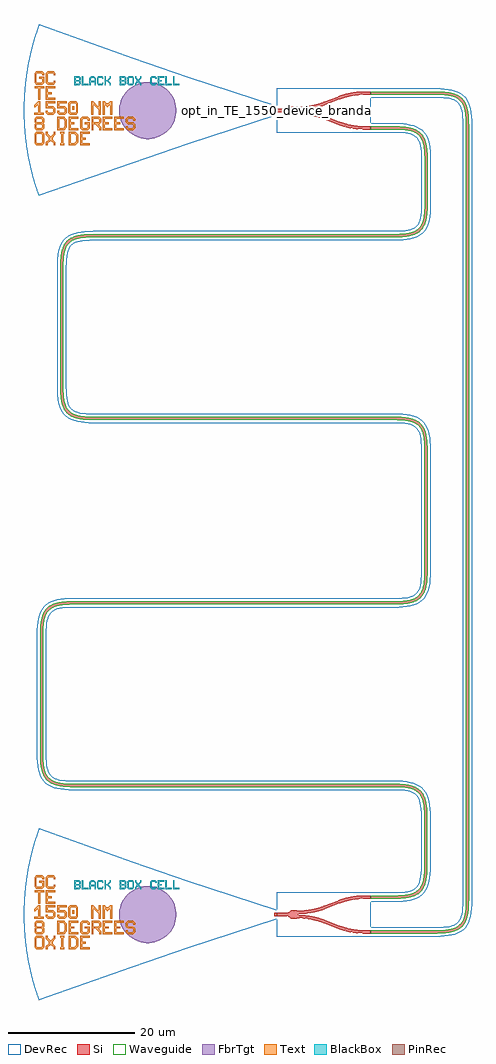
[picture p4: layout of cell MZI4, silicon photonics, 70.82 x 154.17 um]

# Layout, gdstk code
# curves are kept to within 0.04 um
import gdstk
lib = gdstk.Library(unit=1e-6, precision=1e-09)
def R(c, l, rs):  # rectangles x0, y0, x1, y1
    for r in rs: c.add(gdstk.rectangle(r[:2], r[2:], *l))
def P(c, l, *ps):  # polygons
    for p in ps: c.add(gdstk.Polygon(p, *l))
Si = (1, 0)
PinRec = (1, 10)
Waveguide = (1, 99)
Text = (10, 0)
DevRec = (68, 0)
FbrTgt = (81, 0)
BlackBox = (998, 0)

waveguide_20 = lib.new_cell('Waveguide$20')
P(waveguide_20, Si, [(-167.6,-187.91),(-167.6,-187.41),(-163.238,-187.4),(-162.141,-187.319),(-161.39,-187.181),(-160.776,-186.973),(-160.202,-186.625),(-159.839,-186.242),(-159.556,-185.753),(-159.257,-184.704),(-159.129,-183.291),(-159.138,-174.19),(-159.233,-173.13),(-159.465,-172.155),(-159.777,-171.526),(-160.203,-171.054),(-160.777,-170.706),(-161.391,-170.498),(-162.311,-170.341),(-163.443,-170.274),(-214.56,-170.27),(-216.524,-170.151),(-217.164,-170.025),(-217.858,-169.789),(-218.643,-169.286),(-219.208,-168.563),(-219.566,-167.623),(-219.755,-166.451),(-219.81,-165.02),(-219.8,-145.532),(-219.715,-144.389),(-219.565,-143.576),(-219.27,-142.757),(-218.911,-142.196),(-218.44,-141.747),(-217.727,-141.355),(-217.009,-141.137),(-215.991,-140.985),(-214.56,-140.93),(-163.412,-140.925),(-162.111,-140.839),(-161.098,-140.626),(-160.346,-140.273),(-159.809,-139.762),(-159.526,-139.273),(-159.318,-138.659),(-159.18,-137.908),(-159.099,-136.811),(-159.1,-116.408),(-159.228,-114.995),(-159.48,-114.058),(-159.875,-113.372),(-160.173,-113.074),(-160.537,-112.83),(-161.099,-112.593),(-161.796,-112.427),(-163.623,-112.291),(-211.379,-112.29),(-212.811,-112.234),(-213.829,-112.082),(-214.547,-111.864),(-215.151,-111.549),(-215.646,-111.122),(-216.027,-110.583),(-216.345,-109.79),(-216.511,-109.003),(-216.612,-107.891),(-216.601,-87.13),(-216.453,-85.887),(-216.203,-85.012),(-215.811,-84.299),(-215.259,-83.747),(-214.676,-83.41),(-213.828,-83.137),(-212.992,-83.003),(-211.816,-82.934),(-163.82,-82.93),(-162.091,-82.839),(-160.955,-82.585),(-160.237,-82.21),(-159.726,-81.673),(-159.373,-80.921),(-159.141,-79.739),(-159.071,-78.397),(-159.08,-70.528),(-159.208,-69.115),(-159.46,-68.178),(-159.727,-67.666),(-160.153,-67.194),(-160.727,-66.846),(-161.479,-66.605),(-163.189,-66.419),(-167.6,-66.41),(-167.6,-65.91),(-163.173,-65.919),(-162.03,-66.004),(-161.217,-66.154),(-160.523,-66.39),(-159.94,-66.727),(-159.469,-67.176),(-159.11,-67.737),(-158.855,-68.409),(-158.689,-69.196),(-158.57,-71.16),(-158.571,-78.401),(-158.688,-80.143),(-158.944,-81.212),(-159.387,-82.06),(-159.939,-82.612),(-160.787,-83.055),(-162.029,-83.335),(-163.82,-83.43),(-211.806,-83.434),(-212.938,-83.501),(-213.858,-83.658),(-214.472,-83.866),(-215.046,-84.214),(-215.472,-84.686),(-215.784,-85.315),(-216.016,-86.29),(-216.111,-87.35),(-216.112,-107.869),(-216.017,-108.929),(-215.865,-109.652),(-215.589,-110.343),(-215.276,-110.786),(-214.873,-111.133),(-214.244,-111.445),(-213.576,-111.624),(-212.586,-111.751),(-163.619,-111.791),(-161.71,-111.935),(-160.947,-112.117),(-160.297,-112.392),(-159.574,-112.957),(-159.071,-113.742),(-158.736,-114.909),(-158.6,-116.392),(-158.599,-136.827),(-158.663,-137.793),(-158.797,-138.629),(-159.015,-139.347),(-159.33,-139.951),(-159.959,-140.612),(-160.672,-141.004),(-161.709,-141.284),(-163.192,-141.42),(-214.56,-141.43),(-215.945,-141.483),(-216.901,-141.625),(-217.541,-141.819),(-218.053,-142.086),(-218.525,-142.512),(-218.873,-143.086),(-219.081,-143.7),(-219.219,-144.451),(-219.3,-145.548),(-219.272,-166.226),(-219.082,-167.499),(-218.77,-168.323),(-218.307,-168.916),(-217.654,-169.333),(-217.04,-169.541),(-216.45,-169.657),(-214.56,-169.77),(-163.433,-169.774),(-162.257,-169.843),(-161.267,-170.014),(-160.448,-170.309),(-159.887,-170.668),(-159.361,-171.248),(-158.995,-171.987),(-158.766,-172.889),(-158.648,-173.97),(-158.629,-183.307),(-158.765,-184.79),(-159.1,-185.957),(-159.437,-186.54),(-159.989,-187.092),(-160.572,-187.429),(-161.42,-187.702),(-162.256,-187.836),(-163.222,-187.9)])
P(waveguide_20, Waveguide, [(-167.6,-187.91),(-167.6,-187.41),(-163.238,-187.4),(-162.141,-187.319),(-161.39,-187.181),(-160.776,-186.973),(-160.202,-186.625),(-159.839,-186.242),(-159.556,-185.753),(-159.257,-184.704),(-159.129,-183.291),(-159.138,-174.19),(-159.233,-173.13),(-159.465,-172.155),(-159.777,-171.526),(-160.203,-171.054),(-160.777,-170.706),(-161.391,-170.498),(-162.311,-170.341),(-163.443,-170.274),(-214.56,-170.27),(-216.524,-170.151),(-217.164,-170.025),(-217.858,-169.789),(-218.643,-169.286),(-219.208,-168.563),(-219.566,-167.623),(-219.755,-166.451),(-219.81,-165.02),(-219.8,-145.532),(-219.715,-144.389),(-219.565,-143.576),(-219.27,-142.757),(-218.911,-142.196),(-218.44,-141.747),(-217.727,-141.355),(-217.009,-141.137),(-215.991,-140.985),(-214.56,-140.93),(-163.412,-140.925),(-162.111,-140.839),(-161.098,-140.626),(-160.346,-140.273),(-159.809,-139.762),(-159.526,-139.273),(-159.318,-138.659),(-159.18,-137.908),(-159.099,-136.811),(-159.1,-116.408),(-159.228,-114.995),(-159.48,-114.058),(-159.875,-113.372),(-160.173,-113.074),(-160.537,-112.83),(-161.099,-112.593),(-161.796,-112.427),(-163.623,-112.291),(-211.379,-112.29),(-212.811,-112.234),(-213.829,-112.082),(-214.547,-111.864),(-215.151,-111.549),(-215.646,-111.122),(-216.027,-110.583),(-216.345,-109.79),(-216.511,-109.003),(-216.612,-107.891),(-216.601,-87.13),(-216.453,-85.887),(-216.203,-85.012),(-215.811,-84.299),(-215.259,-83.747),(-214.676,-83.41),(-213.828,-83.137),(-212.992,-83.003),(-211.816,-82.934),(-163.82,-82.93),(-162.091,-82.839),(-160.955,-82.585),(-160.237,-82.21),(-159.726,-81.673),(-159.373,-80.921),(-159.141,-79.739),(-159.071,-78.397),(-159.08,-70.528),(-159.208,-69.115),(-159.46,-68.178),(-159.727,-67.666),(-160.153,-67.194),(-160.727,-66.846),(-161.479,-66.605),(-163.189,-66.419),(-167.6,-66.41),(-167.6,-65.91),(-163.173,-65.919),(-162.03,-66.004),(-161.217,-66.154),(-160.523,-66.39),(-159.94,-66.727),(-159.469,-67.176),(-159.11,-67.737),(-158.855,-68.409),(-158.689,-69.196),(-158.57,-71.16),(-158.571,-78.401),(-158.688,-80.143),(-158.944,-81.212),(-159.387,-82.06),(-159.939,-82.612),(-160.787,-83.055),(-162.029,-83.335),(-163.82,-83.43),(-211.806,-83.434),(-212.938,-83.501),(-213.858,-83.658),(-214.472,-83.866),(-215.046,-84.214),(-215.472,-84.686),(-215.784,-85.315),(-216.016,-86.29),(-216.111,-87.35),(-216.112,-107.869),(-216.017,-108.929),(-215.865,-109.652),(-215.589,-110.343),(-215.276,-110.786),(-214.873,-111.133),(-214.244,-111.445),(-213.576,-111.624),(-212.586,-111.751),(-163.619,-111.791),(-161.71,-111.935),(-160.947,-112.117),(-160.297,-112.392),(-159.574,-112.957),(-159.071,-113.742),(-158.736,-114.909),(-158.6,-116.392),(-158.599,-136.827),(-158.663,-137.793),(-158.797,-138.629),(-159.015,-139.347),(-159.33,-139.951),(-159.959,-140.612),(-160.672,-141.004),(-161.709,-141.284),(-163.192,-141.42),(-214.56,-141.43),(-215.945,-141.483),(-216.901,-141.625),(-217.541,-141.819),(-218.053,-142.086),(-218.525,-142.512),(-218.873,-143.086),(-219.081,-143.7),(-219.219,-144.451),(-219.3,-145.548),(-219.272,-166.226),(-219.082,-167.499),(-218.77,-168.323),(-218.307,-168.916),(-217.654,-169.333),(-217.04,-169.541),(-216.45,-169.657),(-214.56,-169.77),(-163.433,-169.774),(-162.257,-169.843),(-161.267,-170.014),(-160.448,-170.309),(-159.887,-170.668),(-159.361,-171.248),(-158.995,-171.987),(-158.766,-172.889),(-158.648,-173.97),(-158.629,-183.307),(-158.765,-184.79),(-159.1,-185.957),(-159.437,-186.54),(-159.989,-187.092),(-160.572,-187.429),(-161.42,-187.702),(-162.256,-187.836),(-163.222,-187.9)])
P(waveguide_20, DevRec, [(-167.6,-188.41),(-167.6,-186.91),(-163.22,-186.899),(-161.676,-186.734),(-160.974,-186.514),(-160.494,-186.217),(-160.155,-185.818),(-159.895,-185.235),(-159.717,-184.404),(-159.63,-183.309),(-159.663,-173.789),(-159.796,-172.826),(-160.156,-171.861),(-160.313,-171.644),(-160.712,-171.305),(-161.295,-171.045),(-162.64,-170.812),(-163.87,-170.77),(-215.262,-170.759),(-216.513,-170.658),(-217.588,-170.424),(-218.511,-170.008),(-218.91,-169.717),(-219.258,-169.369),(-219.783,-168.529),(-220.101,-167.529),(-220.264,-166.37),(-220.31,-165.02),(-220.299,-145.478),(-220.198,-144.227),(-219.964,-143.152),(-219.548,-142.229),(-219.257,-141.83),(-218.909,-141.482),(-218.069,-140.957),(-217.069,-140.639),(-215.91,-140.476),(-214.56,-140.43),(-163.19,-140.419),(-162.095,-140.332),(-161.264,-140.154),(-160.681,-139.894),(-160.464,-139.737),(-160.125,-139.338),(-159.765,-138.373),(-159.6,-136.829),(-159.601,-116.39),(-159.688,-115.295),(-159.866,-114.464),(-160.126,-113.881),(-160.283,-113.664),(-160.682,-113.325),(-161.265,-113.065),(-162.096,-112.887),(-163.84,-112.79),(-211.379,-112.79),(-212.73,-112.743),(-213.889,-112.58),(-214.889,-112.262),(-215.729,-111.737),(-216.077,-111.389),(-216.368,-110.99),(-216.784,-110.067),(-217.018,-108.992),(-217.119,-107.741),(-217.129,-88.18),(-217.082,-86.829),(-216.919,-85.67),(-216.601,-84.67),(-216.076,-83.83),(-215.728,-83.482),(-215.329,-83.191),(-214.406,-82.775),(-213.331,-82.541),(-212.08,-82.44),(-163.82,-82.43),(-162.075,-82.332),(-161.244,-82.154),(-160.661,-81.894),(-160.444,-81.737),(-160.105,-81.338),(-159.745,-80.373),(-159.612,-79.41),(-159.581,-70.51),(-159.668,-69.415),(-159.966,-68.264),(-160.263,-67.784),(-160.662,-67.445),(-161.627,-67.085),(-163.171,-66.92),(-167.6,-66.91),(-167.6,-65.41),(-163.119,-65.42),(-161.868,-65.521),(-160.793,-65.755),(-159.87,-66.171),(-159.471,-66.462),(-159.123,-66.81),(-158.598,-67.65),(-158.416,-68.132),(-158.182,-69.207),(-158.07,-71.159),(-158.07,-78.181),(-158.116,-79.53),(-158.279,-80.689),(-158.597,-81.689),(-159.122,-82.529),(-159.869,-83.168),(-160.792,-83.584),(-161.867,-83.818),(-163.82,-83.93),(-212.028,-83.94),(-213.572,-84.105),(-214.274,-84.325),(-214.754,-84.622),(-215.093,-85.021),(-215.353,-85.604),(-215.531,-86.435),(-215.618,-87.53),(-215.629,-107.04),(-215.587,-108.27),(-215.354,-109.615),(-215.234,-109.935),(-214.937,-110.415),(-214.538,-110.754),(-213.955,-111.014),(-212.61,-111.247),(-211.379,-111.29),(-163.139,-111.3),(-161.331,-111.499),(-160.331,-111.817),(-159.89,-112.051),(-159.143,-112.69),(-158.618,-113.53),(-158.3,-114.53),(-158.101,-116.338),(-158.1,-136.881),(-158.299,-138.689),(-158.617,-139.689),(-158.851,-140.13),(-159.49,-140.877),(-160.33,-141.402),(-161.33,-141.72),(-163.138,-141.919),(-214.56,-141.93),(-215.79,-141.972),(-217.135,-142.205),(-217.718,-142.465),(-218.117,-142.804),(-218.414,-143.284),(-218.634,-143.986),(-218.799,-145.53),(-218.81,-165.02),(-218.768,-166.25),(-218.635,-167.213),(-218.415,-167.915),(-218.118,-168.395),(-217.936,-168.577),(-217.456,-168.874),(-216.305,-169.172),(-214.56,-169.27),(-163.169,-169.28),(-161.918,-169.381),(-160.843,-169.615),(-159.92,-170.031),(-159.521,-170.322),(-158.882,-171.069),(-158.466,-171.992),(-158.232,-173.067),(-158.131,-174.318),(-158.13,-183.361),(-158.329,-185.169),(-158.647,-186.169),(-159.172,-187.009),(-159.52,-187.357),(-160.36,-187.882),(-161.36,-188.2),(-163.168,-188.399)])
waveguide_20.add(gdstk.FlexPath([(-167.59,-66.16),(-167.61,-66.16)], 0.5, ends="flush", simple_path=True, layer=1, datatype=10))  # PinRec
waveguide_20.add(gdstk.FlexPath([(-167.59,-187.66),(-167.61,-187.66)], 0.5, ends="flush", simple_path=True, layer=1, datatype=10))  # PinRec
waveguide_20.add(gdstk.Label('opt1', (-167.6,-66.16), layer=1, texttype=10))
waveguide_20.add(gdstk.Label('opt2', (-167.6,-187.66), layer=1, texttype=10))
waveguide_20.add(gdstk.Label('Lumerical_INTERCONNECT_library=Design kits/EBeam', (-167.6,-66.26), layer=68, texttype=0))
waveguide_20.add(gdstk.Label('Component=ebeam_wg_integral_1550', (-167.6,-66.06), layer=68, texttype=0))
waveguide_20.add(gdstk.Label('cellName=Waveguide', (-167.6,-65.96), layer=68, texttype=0))
waveguide_20.add(gdstk.Label('Length=360.001 (microns)', (-167.6,-66.76), layer=68, texttype=0))
waveguide_20.add(gdstk.Label('waveguide_type=Strip TE 1550 nm, w=500 nm', (-167.6,-66.36), layer=68, texttype=0))

waveguide_7 = lib.new_cell('Waveguide$7')
P(waveguide_7, Si, [(-167.6,60.59),(-167.6,61.09),(-156.871,61.095),(-155.739,61.162),(-154.819,61.319),(-154.205,61.527),(-153.805,61.747),(-153.476,62.017),(-153.205,62.347),(-152.813,63.228),(-152.602,64.455),(-152.549,65.84),(-152.549,188.34),(-152.64,190.069),(-152.894,191.205),(-153.334,192.008),(-153.632,192.306),(-153.996,192.55),(-154.435,192.746),(-155.103,192.925),(-156.093,193.052),(-157.082,193.089),(-167.6,193.09),(-167.6,193.59),(-157.078,193.589),(-155.868,193.535),(-154.85,193.383),(-154.132,193.165),(-153.419,192.773),(-152.948,192.324),(-152.589,191.763),(-152.294,190.944),(-152.144,190.131),(-152.059,188.988),(-152.049,65.84),(-152.104,64.409),(-152.376,62.947),(-152.588,62.418),(-152.866,61.96),(-153.216,61.574),(-153.638,61.26),(-154.131,61.016),(-154.695,60.835),(-155.685,60.664),(-156.861,60.595)])
P(waveguide_7, Waveguide, [(-167.6,60.59),(-167.6,61.09),(-156.871,61.095),(-155.739,61.162),(-154.819,61.319),(-154.205,61.527),(-153.805,61.747),(-153.476,62.017),(-153.205,62.347),(-152.813,63.228),(-152.602,64.455),(-152.549,65.84),(-152.549,188.34),(-152.64,190.069),(-152.894,191.205),(-153.334,192.008),(-153.632,192.306),(-153.996,192.55),(-154.435,192.746),(-155.103,192.925),(-156.093,193.052),(-157.082,193.089),(-167.6,193.09),(-167.6,193.59),(-157.078,193.589),(-155.868,193.535),(-154.85,193.383),(-154.132,193.165),(-153.419,192.773),(-152.948,192.324),(-152.589,191.763),(-152.294,190.944),(-152.144,190.131),(-152.059,188.988),(-152.049,65.84),(-152.104,64.409),(-152.376,62.947),(-152.588,62.418),(-152.866,61.96),(-153.216,61.574),(-153.638,61.26),(-154.131,61.016),(-154.695,60.835),(-155.685,60.664),(-156.861,60.595)])
P(waveguide_7, DevRec, [(-167.6,60.09),(-167.6,61.59),(-156.649,61.601),(-155.554,61.688),(-154.723,61.866),(-154.14,62.126),(-153.923,62.283),(-153.584,62.682),(-153.224,63.647),(-153.091,64.61),(-153.049,65.84),(-153.049,188.34),(-153.147,190.085),(-153.325,190.916),(-153.445,191.236),(-153.742,191.716),(-153.924,191.898),(-154.404,192.195),(-155.555,192.493),(-157.3,192.59),(-167.6,192.59),(-167.6,194.09),(-157.298,194.09),(-155.949,194.044),(-154.79,193.881),(-153.79,193.563),(-152.95,193.038),(-152.602,192.69),(-152.311,192.291),(-151.895,191.368),(-151.661,190.293),(-151.56,189.042),(-151.549,65.84),(-151.595,64.49),(-151.758,63.331),(-151.894,62.813),(-152.31,61.89),(-152.949,61.143),(-153.348,60.852),(-154.271,60.436),(-155.346,60.202),(-156.597,60.101)])
waveguide_7.add(gdstk.FlexPath([(-167.59,193.34),(-167.61,193.34)], 0.5, ends="flush", simple_path=True, layer=1, datatype=10))  # PinRec
waveguide_7.add(gdstk.FlexPath([(-167.59,60.84),(-167.61,60.84)], 0.5, ends="flush", simple_path=True, layer=1, datatype=10))  # PinRec
waveguide_7.add(gdstk.Label('opt1', (-167.6,193.34), layer=1, texttype=10))
waveguide_7.add(gdstk.Label('opt2', (-167.6,60.84), layer=1, texttype=10))
waveguide_7.add(gdstk.Label('Lumerical_INTERCONNECT_library=Design kits/EBeam', (-167.6,193.24), layer=68, texttype=0))
waveguide_7.add(gdstk.Label('Component=ebeam_wg_integral_1550', (-167.6,193.44), layer=68, texttype=0))
waveguide_7.add(gdstk.Label('cellName=Waveguide', (-167.6,193.54), layer=68, texttype=0))
waveguide_7.add(gdstk.Label('Spice_param:wg_length=0.000159999 wg_width=5e-07 points="[[-167.6,193.34],[-152.299,193.34],[-152.299,60.84],[-167.6,60.84]]" radius=5e-06', (-167.6,193.34), layer=68, texttype=0))
waveguide_7.add(gdstk.Label('Length=159.999 (microns)', (-167.6,192.74), layer=68, texttype=0))
waveguide_7.add(gdstk.Label('waveguide_type=Strip TE 1550 nm, w=500 nm', (-167.6,193.14), layer=68, texttype=0))

ebeam_y_1550 = lib.new_cell('ebeam_y_1550')
R(ebeam_y_1550, Si, [(6.5,-3,7.4,-2.5), (-7.4,-0.25,-6,0.25), (6.5,2.5,7.4,3)])
P(ebeam_y_1550, Si, [(6.458,-3),(6.237,-2.997),(6.237,-2.497),(6.5,-2.5),(6.5,-3)],
  [(5.033,-2.908),(3.59,-2.634),(2.265,-2.21),(2.445,-1.744),(3.731,-2.154),(5.033,-2.404)],
  [(6.233,-2.997),(5.033,-2.908),(5.033,-2.404),(6.237,-2.497)],
  [(2.265,-2.21),(0.055,-1.356),(0.235,-0.89),(2.445,-1.744)],
  [(-0.762,-1.076),(-2.334,-0.724),(-4,-0.6),(-4,-0.1),(-2.381,-0.212),(-0.762,-0.555)],
  [(0.055,-1.356),(-0.762,-1.076),(-0.762,-0.555),(0.235,-0.89)],
  [(6.237,2.497),(6.237,2.997),(6.5,3),(6.5,2.5)],
  [(2.445,1.744),(2.267,2.211),(3.59,2.634),(5.033,2.908),(5.033,2.404),(3.731,2.154)],
  [(5.033,2.404),(5.033,2.908),(6.237,2.997),(6.237,2.497)],
  [(0.235,0.89),(0.055,1.356),(2.265,2.21),(2.445,1.744)],
  [(-4,0.1),(-4,0.6),(-2.334,0.724),(-0.762,1.076),(-0.762,0.555),(-2.381,0.212)],
  [(-0.762,0.555),(-0.762,1.076),(0.055,1.356),(0.235,0.89)],
  [(-5.122,-0.662),(-5.442,-0.374),(-5.808,-0.255),(-6,-0.25),(-6,0.25),(-5.817,0.253),(-5.442,0.374),(-5.122,0.662)],
  [(-4.957,-0.703),(-5.122,-0.662),(-5.122,0.662),(-4.538,0.703),(-4,0.6),(-4,-0.6),(-4.509,-0.701)])
R(ebeam_y_1550, DevRec, [(-7.4,-3.5,7.4,3.5)])
ebeam_y_1550.add(gdstk.FlexPath([(-7.35,0),(-7.45,0)], 0.5, ends="flush", simple_path=True, layer=1, datatype=10))  # PinRec
ebeam_y_1550.add(gdstk.FlexPath([(7.35,2.75),(7.45,2.75)], 0.5, ends="flush", simple_path=True, layer=1, datatype=10))  # PinRec
ebeam_y_1550.add(gdstk.FlexPath([(7.35,-2.75),(7.45,-2.75)], 0.5, ends="flush", simple_path=True, layer=1, datatype=10))  # PinRec
ebeam_y_1550.add(gdstk.Label('opt2', (7.4,2.75), layer=1, texttype=10))
ebeam_y_1550.add(gdstk.Label('opt3', (7.4,-2.75), layer=1, texttype=10))
ebeam_y_1550.add(gdstk.Label('opt1', (-7.4,0), layer=1, texttype=10))
ebeam_y_1550.add(gdstk.Label('Component=ebeam_y_1550', (-6,1.5), layer=68, texttype=0))
ebeam_y_1550.add(gdstk.Label('Lumerical_INTERCONNECT_library=Design kits/ebeam', (-6.86,-2.19), layer=68, texttype=0))
ebeam_y_1550.add(gdstk.Label('Ref: Y Zhang, Opt. Express, 21/1, 2013', (-7.5,-1), layer=10, texttype=0))

text = lib.new_cell('TEXT')
P(text, BlackBox, [(0,0),(0,1.4),(0.8,1.4),(1,1.2),(0.2,1.2),(0.2,0.8),(0.7,0.8),(0.8,0.9),(0.8,1.1),(0.7,1.2),(1,1.2),(1,0.8),(0.9,0.7),(1,0.6),(0.2,0.6),(0.2,0.2),(0.7,0.2),(0.8,0.3),(0.8,0.5),(0.7,0.6),(1,0.6),(1,0.2),(0.8,0)],
  [(1.2,0),(1.2,1.4),(1.4,1.4),(1.4,0.2),(2.2,0.2),(2.2,0)],
  [(2.4,0),(2.4,1.1),(2.7,1.4),(3.1,1.4),(3.3,1.2),(2.8,1.2),(2.6,1),(2.6,0.7),(3.2,0.7),(3.2,1),(3,1.2),(3.3,1.2),(3.4,1.1),(3.4,0),(3.2,0),(3.2,0.5),(2.6,0.5),(2.6,0)],
  [(3.8,0),(3.6,0.2),(3.6,1.2),(3.8,1.4),(4.4,1.4),(4.6,1.2),(4.6,1),(4.4,1),(4.4,1.1),(4.3,1.2),(3.9,1.2),(3.8,1.1),(3.8,0.3),(3.9,0.2),(4.3,0.2),(4.4,0.3),(4.4,0.4),(4.6,0.4),(4.6,0.2),(4.4,0)],
  [(4.8,0),(4.8,1.4),(5,1.4),(5,0.8),(5.2,0.8),(5.6,1.2),(5.6,1.4),(5.8,1.4),(5.8,1.1),(5.4,0.7),(5.8,0.3),(5.8,0),(5.6,0),(5.6,0.2),(5.2,0.6),(5,0.6),(5,0)],
  [(7.2,0),(7.2,1.4),(8,1.4),(8.2,1.2),(7.4,1.2),(7.4,0.8),(7.9,0.8),(8,0.9),(8,1.1),(7.9,1.2),(8.2,1.2),(8.2,0.8),(8.1,0.7),(8.2,0.6),(7.4,0.6),(7.4,0.2),(7.9,0.2),(8,0.3),(8,0.5),(7.9,0.6),(8.2,0.6),(8.2,0.2),(8,0)],
  [(8.6,0),(8.4,0.2),(8.4,1.2),(8.6,1.4),(9.2,1.4),(9.4,1.2),(9.4,0.7),(9.2,0.7),(9.2,1.1),(9.1,1.2),(8.7,1.2),(8.6,1.1),(8.6,0.3),(8.7,0.2),(9.1,0.2),(9.2,0.3),(9.2,0.7),(9.4,0.7),(9.4,0.2),(9.2,0)],
  [(9.6,0),(9.6,0.3),(9.9,0.6),(9.9,0.8),(9.6,1.1),(9.6,1.4),(9.8,1.4),(9.8,1.2),(10.1,0.9),(10.4,1.2),(10.4,1.4),(10.6,1.4),(10.6,1.1),(10.3,0.8),(10.3,0.6),(10.6,0.3),(10.6,0),(10.4,0),(10.4,0.2),(10.1,0.5),(9.8,0.2),(9.8,0)],
  [(12.2,0),(12,0.2),(12,1.2),(12.2,1.4),(12.8,1.4),(13,1.2),(13,1),(12.8,1),(12.8,1.1),(12.7,1.2),(12.3,1.2),(12.2,1.1),(12.2,0.3),(12.3,0.2),(12.7,0.2),(12.8,0.3),(12.8,0.4),(13,0.4),(13,0.2),(12.8,0)],
  [(13.2,0),(13.2,1.4),(14.2,1.4),(14.2,1.2),(13.4,1.2),(13.4,0.8),(13.8,0.8),(13.8,0.6),(13.4,0.6),(13.4,0.2),(14.2,0.2),(14.2,0)],
  [(14.4,0),(14.4,1.4),(14.6,1.4),(14.6,0.2),(15.4,0.2),(15.4,0)],
  [(15.6,0),(15.6,1.4),(15.8,1.4),(15.8,0.2),(16.6,0.2),(16.6,0)])

gc_te_1550_8degoxide_bb = lib.new_cell('GC_TE_1550_8degOxide_BB')
R(gc_te_1550_8degoxide_bb, Si, [(-0.4,-0.25,0,0.25)])
R(gc_te_1550_8degoxide_bb, Text, [(-32.313,0.092,-32.013,0.692)])
P(gc_te_1550_8degoxide_bb, Text, [(-37.67,1.71),(-37.67,3.51),(-38.27,3.51),(-38.27,3.81),(-36.77,3.81),(-36.77,3.51),(-37.37,3.51),(-37.37,1.71)],
  [(-37.97,-5.49),(-38.27,-5.19),(-38.27,-3.69),(-37.97,-3.39),(-37.07,-3.39),(-36.77,-3.69),(-36.77,-4.44),(-37.07,-4.44),(-37.07,-3.84),(-37.22,-3.69),(-37.82,-3.69),(-37.97,-3.84),(-37.97,-5.04),(-37.82,-5.19),(-37.22,-5.19),(-37.07,-5.04),(-37.07,-4.44),(-36.77,-4.44),(-36.77,-5.19),(-37.07,-5.49)],
  [(-31.07,-5.49),(-31.07,-3.39),(-29.57,-3.39),(-29.57,-3.69),(-30.77,-3.69),(-30.77,-4.29),(-30.17,-4.29),(-30.17,-4.59),(-30.77,-4.59),(-30.77,-5.19),(-29.57,-5.19),(-29.57,-5.49)],
  [(-32.87,-3.09),(-32.87,-0.99),(-31.37,-0.99),(-31.37,-1.29),(-32.57,-1.29),(-32.57,-1.89),(-31.97,-1.89),(-31.97,-2.19),(-32.57,-2.19),(-32.57,-2.79),(-31.37,-2.79),(-31.37,-3.09)],
  [(-27.47,-3.09),(-27.47,-0.99),(-25.97,-0.99),(-25.97,-1.29),(-27.17,-1.29),(-27.17,-1.89),(-26.57,-1.89),(-26.57,-2.19),(-27.17,-2.19),(-27.17,-2.79),(-25.97,-2.79),(-25.97,-3.09)],
  [(-25.67,-3.09),(-25.67,-0.99),(-24.17,-0.99),(-24.17,-1.29),(-25.37,-1.29),(-25.37,-1.89),(-24.77,-1.89),(-24.77,-2.19),(-25.37,-2.19),(-25.37,-2.79),(-24.17,-2.79),(-24.17,-3.09)],
  [(-36.47,1.71),(-36.47,3.81),(-34.97,3.81),(-34.97,3.51),(-36.17,3.51),(-36.17,2.91),(-35.57,2.91),(-35.57,2.61),(-36.17,2.61),(-36.17,2.01),(-34.97,2.01),(-34.97,1.71)],
  [(-29.313,-0.658),(-29.313,1.442),(-29.013,1.442),(-28.263,0.692),(-28.113,0.692),(-28.113,1.442),(-27.813,1.442),(-27.813,-0.658),(-28.113,-0.658),(-28.113,0.092),(-28.863,0.842),(-29.013,0.842),(-29.013,-0.658)],
  [(-34.22,-5.49),(-34.22,-5.19),(-34.07,-5.19),(-34.07,-3.69),(-34.22,-3.69),(-34.22,-3.39),(-33.62,-3.39),(-33.62,-3.69),(-33.77,-3.69),(-33.77,-5.19),(-33.62,-5.19),(-33.62,-5.49)],
  [(-36.17,4.11),(-36.47,4.41),(-36.47,5.91),(-36.17,6.21),(-35.27,6.21),(-34.97,5.91),(-34.97,5.61),(-35.27,5.61),(-35.27,5.76),(-35.42,5.91),(-36.02,5.91),(-36.17,5.76),(-36.17,4.56),(-36.02,4.41),(-35.42,4.41),(-35.27,4.56),(-35.27,4.71),(-34.97,4.71),(-34.97,4.41),(-35.27,4.11)],
  [(-27.513,-0.658),(-27.513,1.442),(-27.213,1.442),(-26.913,1.142),(-26.613,1.142),(-26.313,1.442),(-26.013,1.442),(-26.013,-0.658),(-26.313,-0.658),(-26.313,0.842),(-26.463,0.842),(-26.763,0.542),(-27.063,0.842),(-27.213,0.842),(-27.213,-0.658)],
  [(-32.613,-0.658),(-32.913,-0.358),(-32.913,1.142),(-32.613,1.442),(-31.713,1.442),(-31.413,1.142),(-32.463,1.142),(-32.613,0.992),(-32.613,-0.208),(-32.463,-0.358),(-31.863,-0.358),(-31.713,-0.208),(-31.713,0.992),(-31.863,1.142),(-31.413,1.142),(-31.413,-0.358),(-31.713,-0.658)],
  [(-32.87,-5.49),(-32.87,-3.39),(-31.82,-3.39),(-31.52,-3.69),(-32.57,-3.69),(-32.57,-5.19),(-31.97,-5.19),(-31.67,-4.89),(-31.67,-3.99),(-31.97,-3.69),(-31.52,-3.69),(-31.37,-3.84),(-31.37,-5.04),(-31.82,-5.49)],
  [(-34.67,-3.09),(-34.67,-0.99),(-33.62,-0.99),(-33.32,-1.29),(-34.37,-1.29),(-34.37,-2.79),(-33.77,-2.79),(-33.47,-2.49),(-33.47,-1.59),(-33.77,-1.29),(-33.32,-1.29),(-33.17,-1.44),(-33.17,-2.64),(-33.62,-3.09)],
  [(-23.57,-3.09),(-23.87,-2.79),(-23.87,-2.49),(-23.57,-2.49),(-23.57,-2.64),(-23.42,-2.79),(-22.82,-2.79),(-22.67,-2.64),(-22.67,-2.34),(-22.82,-2.19),(-23.57,-2.19),(-23.87,-1.89),(-23.87,-1.29),(-23.57,-0.99),(-22.67,-0.99),(-22.37,-1.29),(-22.37,-1.59),(-22.67,-1.59),(-22.67,-1.44),(-22.82,-1.29),(-23.42,-1.29),(-23.57,-1.44),(-23.57,-1.74),(-23.42,-1.89),(-22.67,-1.89),(-22.37,-2.19),(-22.37,-2.79),(-22.67,-3.09)],
  [(-36.213,-0.658),(-36.513,-0.358),(-36.513,-0.058),(-36.213,-0.058),(-36.213,-0.208),(-36.063,-0.358),(-35.463,-0.358),(-35.313,-0.208),(-35.313,0.242),(-35.463,0.392),(-36.513,0.392),(-36.513,1.442),(-35.013,1.442),(-35.013,1.142),(-36.213,1.142),(-36.213,0.692),(-35.313,0.692),(-35.013,0.392),(-35.013,-0.358),(-35.313,-0.658)],
  [(-34.413,-0.658),(-34.713,-0.358),(-34.713,-0.058),(-34.413,-0.058),(-34.413,-0.208),(-34.263,-0.358),(-33.663,-0.358),(-33.513,-0.208),(-33.513,0.242),(-33.663,0.392),(-34.713,0.392),(-34.713,1.442),(-33.213,1.442),(-33.213,1.142),(-34.413,1.142),(-34.413,0.692),(-33.513,0.692),(-33.213,0.392),(-33.213,-0.358),(-33.513,-0.658)],
  [(-37.97,-3.09),(-38.27,-2.79),(-38.27,-2.19),(-38.12,-2.04),(-38.27,-1.89),(-38.27,-1.29),(-37.97,-0.99),(-37.07,-0.99),(-36.77,-1.29),(-37.82,-1.29),(-37.97,-1.44),(-37.97,-1.74),(-37.82,-1.89),(-37.22,-1.89),(-37.07,-1.74),(-37.07,-1.44),(-37.22,-1.29),(-36.77,-1.29),(-36.77,-1.89),(-36.92,-2.04),(-36.77,-2.19),(-37.82,-2.19),(-37.97,-2.34),(-37.97,-2.64),(-37.82,-2.79),(-37.22,-2.79),(-37.07,-2.64),(-37.07,-2.34),(-37.22,-2.19),(-36.77,-2.19),(-36.77,-2.79),(-37.07,-3.09)],
  [(-38.313,-0.658),(-38.313,-0.358),(-37.713,-0.358),(-37.713,0.842),(-37.863,0.842),(-38.163,0.542),(-38.313,0.542),(-38.313,0.842),(-37.713,1.442),(-37.413,1.442),(-37.413,-0.358),(-36.813,-0.358),(-36.813,-0.658)],
  [(-36.47,-5.49),(-36.47,-5.04),(-36.02,-4.59),(-36.02,-4.29),(-36.47,-3.84),(-36.47,-3.39),(-36.17,-3.39),(-36.17,-3.69),(-35.72,-4.14),(-35.27,-3.69),(-35.27,-3.39),(-34.97,-3.39),(-34.97,-3.84),(-35.42,-4.29),(-35.42,-4.59),(-34.97,-5.04),(-34.97,-5.49),(-35.27,-5.49),(-35.27,-5.19),(-35.72,-4.74),(-36.17,-5.19),(-36.17,-5.49)],
  [(-30.77,-3.09),(-31.07,-2.79),(-31.07,-1.29),(-30.77,-0.99),(-29.87,-0.99),(-29.57,-1.29),(-29.57,-1.59),(-29.87,-1.59),(-29.87,-1.44),(-30.02,-1.29),(-30.62,-1.29),(-30.77,-1.44),(-30.77,-2.64),(-30.62,-2.79),(-30.02,-2.79),(-29.87,-2.64),(-29.87,-2.19),(-30.32,-2.19),(-30.32,-1.89),(-29.57,-1.89),(-29.57,-2.79),(-29.87,-3.09)],
  [(-37.97,4.11),(-38.27,4.41),(-38.27,5.91),(-37.97,6.21),(-37.07,6.21),(-36.77,5.91),(-36.77,5.61),(-37.07,5.61),(-37.07,5.76),(-37.22,5.91),(-37.82,5.91),(-37.97,5.76),(-37.97,4.56),(-37.82,4.41),(-37.22,4.41),(-37.07,4.56),(-37.07,5.01),(-37.52,5.01),(-37.52,5.31),(-36.77,5.31),(-36.77,4.41),(-37.07,4.11)],
  [(-29.27,-3.09),(-29.27,-0.99),(-28.07,-0.99),(-27.77,-1.29),(-28.97,-1.29),(-28.97,-1.89),(-28.22,-1.89),(-28.07,-1.74),(-28.07,-1.44),(-28.22,-1.29),(-27.77,-1.29),(-27.77,-1.89),(-28.07,-2.19),(-28.07,-2.34),(-27.77,-2.64),(-27.77,-3.09),(-28.07,-3.09),(-28.07,-2.79),(-28.67,-2.19),(-28.97,-2.19),(-28.97,-3.09)])
P(gc_te_1550_8degoxide_bb, DevRec, [(-37.607,-13.5),(-38.627,-10.245),(-39.378,-6.832),(-39.647,-5.058),(-39.835,-3.274),(-39.969,0.224),(-39.812,3.541),(-39.331,7.097),(-38.557,10.505),(-37.546,13.669),(-22.8,8.353),(-14.109,5.36),(0,0.75),(0,-0.75),(-14.109,-5.36)])
P(gc_te_1550_8degoxide_bb, FbrTgt, [(-20.621,-4.5),(-21.495,-4.37),(-22.326,-4.073),(-23.084,-3.619),(-23.738,-3.026),(-24.264,-2.316),(-24.642,-1.518),(-24.857,-0.661),(-24.9,0.221),(-24.77,1.095),(-24.473,1.926),(-24.019,2.684),(-23.426,3.338),(-22.716,3.864),(-21.918,4.242),(-21.061,4.457),(-20.179,4.5),(-19.305,4.37),(-18.474,4.073),(-17.716,3.619),(-17.062,3.026),(-16.536,2.316),(-16.158,1.518),(-15.943,0.661),(-15.9,-0.221),(-16.03,-1.095),(-16.327,-1.926),(-16.781,-2.684),(-17.374,-3.338),(-18.084,-3.864),(-18.882,-4.242),(-19.739,-4.457)])
gc_te_1550_8degoxide_bb.add(gdstk.FlexPath([(-0.01,0),(0.01,0)], 0.5, ends="flush", simple_path=True, layer=1, datatype=10))  # PinRec
gc_te_1550_8degoxide_bb.add(gdstk.Reference(text, (-32,4)))
gc_te_1550_8degoxide_bb.add(gdstk.Label('opt1', (0,0), layer=1, texttype=10))
gc_te_1550_8degoxide_bb.add(gdstk.Label('Lumerical_INTERCONNECT_library=Design kits/ebeam', (-29,-7), layer=68, texttype=0))
gc_te_1550_8degoxide_bb.add(gdstk.Label('Component=GC_TE_1550_8degOxide_BB', (-28,-5), layer=68, texttype=0))

mzi4 = lib.new_cell('MZI4')
mzi4.add(gdstk.Reference(waveguide_20, (222.369,203.91)))
mzi4.add(gdstk.Reference(waveguide_7, (222.369,-50.09)))
mzi4.add(gdstk.Reference(ebeam_y_1550, (47.369,13.5)))
mzi4.add(gdstk.Reference(ebeam_y_1550, (47.369,140.5)))
mzi4.add(gdstk.Reference(gc_te_1550_8degoxide_bb, (39.969,140.5)))
mzi4.add(gdstk.Reference(gc_te_1550_8degoxide_bb, (39.969,13.5)))
mzi4.add(gdstk.Label('opt_in_TE_1550_device_brandaofg_MZI4', (39.969,140.5), layer=10, texttype=0))

lib.write_gds('MZI4.gds')
